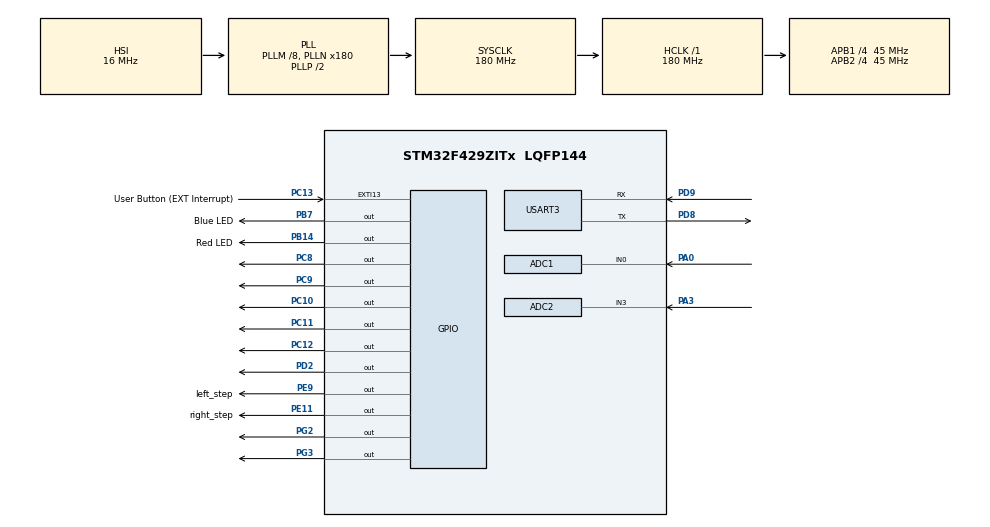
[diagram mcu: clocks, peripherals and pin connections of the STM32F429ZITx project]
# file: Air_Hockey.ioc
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ADC1.Channel-0\#ChannelRegularConversion=ADC_CHANNEL_0
ADC1.ClockPrescaler=ADC_CLOCK_SYNC_PCLK_DIV2
ADC1.ContinuousConvMode=DISABLE
ADC1.DMAContinuousRequests=DISABLE
ADC1.DataAlign=ADC_DATAALIGN_RIGHT
ADC1.DiscontinuousConvMode=DISABLE
ADC1.EOCSelection=ADC_EOC_SINGLE_CONV
ADC1.EnableAnalogWatchDog=false
ADC1.ExternalTrigConv=ADC_SOFTWARE_START
ADC1.ExternalTrigConvEdge=ADC_EXTERNALTRIGCONVEDGE_NONE
ADC1.InjNumberOfConversion=0
ADC1.NbrOfConversion=1
ADC1.NbrOfConversionFlag=1
ADC1.Rank-0\#ChannelRegularConversion=1
ADC1.Resolution=ADC_RESOLUTION_12B
ADC1.SamplingTime-0\#ChannelRegularConversion=ADC_SAMPLETIME_3CYCLES
ADC1.ScanConvMode=DISABLE
ADC1.master=1
ADC2.Channel-12\#ChannelRegularConversion=ADC_CHANNEL_3
ADC2.NbrOfConversionFlag=1
ADC2.Rank-12\#ChannelRegularConversion=1
ADC2.SamplingTime-12\#ChannelRegularConversion=ADC_SAMPLETIME_3CYCLES
Mcu.Family=STM32F4
Mcu.Name=STM32F429ZITx
Mcu.Package=LQFP144
NVIC.EXTI15_10_IRQn=true\:0\:0\:false\:false\:true\:true
NVIC.PriorityGroup=NVIC_PRIORITYGROUP_4
NVIC.TIM1_UP_TIM10_IRQn=true\:0\:0\:false\:false\:true\:true
NVIC.TIM7_IRQn=true\:0\:0\:false\:false\:true\:false
NVIC.TimeBase=TIM7_IRQn
NVIC.TimeBaseIP=TIM7
NVIC.USART3_IRQn=true\:0\:0\:false\:false\:true\:true
PA0/WKUP.Signal=ADCx_IN0
PA3.Signal=ADCx_IN3
PB14.GPIO_Label=Red LED
PB14.Signal=GPIO_Output
PB7.GPIO_Label=Blue LED
PB7.Signal=GPIO_Output
PC10.Signal=GPIO_Output
PC11.Signal=GPIO_Output
PC12.Signal=GPIO_Output
PC13.GPIO_Label=User Button (EXT Interrupt)
PC13.Signal=GPXTI13
PC14/OSC32_IN.Mode=LSE-External-Oscillator
PC14/OSC32_IN.Signal=RCC_OSC32_IN
PC15/OSC32_OUT.Mode=LSE-External-Oscillator
PC15/OSC32_OUT.Signal=RCC_OSC32_OUT
PC8.Signal=GPIO_Output
PC9.Signal=GPIO_Output
PD2.Signal=GPIO_Output
PD8.Mode=Asynchronous
PD8.Signal=USART3_TX
PD9.Mode=Asynchronous
PD9.Signal=USART3_RX
PE11.GPIO_Label=right_step
PE11.Signal=GPIO_Output
PE9.GPIO_Label=left_step
PE9.Signal=GPIO_Output
PG2.Signal=GPIO_Output
PG3.Signal=GPIO_Output
PH0/OSC_IN.Mode=HSE-External-Oscillator
PH0/OSC_IN.Signal=RCC_OSC_IN
PH1/OSC_OUT.Mode=HSE-External-Oscillator
PH1/OSC_OUT.Signal=RCC_OSC_OUT
ProjectManager.HeapSize=0x200
ProjectManager.StackSize=0x400
ProjectManager.TargetToolchain=SW4STM32
RCC.48MHZClocksFreq_Value=90000000
RCC.AHBFreq_Value=180000000
RCC.APB1CLKDivider=RCC_HCLK_DIV4
RCC.APB1Freq_Value=45000000
RCC.APB1TimFreq_Value=90000000
RCC.APB2CLKDivider=RCC_HCLK_DIV4
RCC.APB2Freq_Value=45000000
RCC.APB2TimFreq_Value=90000000
RCC.CortexFreq_Value=180000000
RCC.HCLKFreq_Value=180000000
RCC.HSE_VALUE=25000000
RCC.HSI_VALUE=16000000
RCC.PLLM=8
RCC.PLLN=180
RCC.SYSCLKFreq_VALUE=180000000
RCC.SYSCLKSource=RCC_SYSCLKSOURCE_PLLCLK
RCC.VCOOutputFreq_Value=360000000
SH.ADCx_IN0.0=ADC1_IN0,IN0
SH.ADCx_IN3.0=ADC2_IN3,IN3
TIM1.Period=90
TIM1.Prescaler=500
USART3.VirtualMode=VM_ASYNC
VP_SYS_VS_tim7.Mode=TIM7
VP_TIM1_VS_ClockSourceINT.Mode=Internal
VP_TIM3_VS_ClockSourceINT.Mode=Internal
board=custom

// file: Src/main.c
/**
  ******************************************************************************
  * @file           : main.c
  * @brief          : Main program body
  ******************************************************************************
  ** This notice applies to any and all portions of this file
  * that are not between comment pairs USER CODE BEGIN and
  * USER CODE END. Other portions of this file, whether
  * inserted by the user or by software development tools
  * are owned by their respective copyright owners.
  *
  * COPYRIGHT(c) 2018 STMicroelectronics
  *
  * Redistribution and use in source and binary forms, with or without modification,
  * are permitted provided that the following conditions are met:
  *   1. Redistributions of source code must retain the above copyright notice,
  *      this list of conditions and the following disclaimer.
  *   2. Redistributions in binary form must reproduce the above copyright notice,
  *      this list of conditions and the following disclaimer in the documentation
  *      and/or other materials provided with the distribution.
  *   3. Neither the name of STMicroelectronics nor the names of its contributors
  *      may be used to endorse or promote products derived from this software
  *      without specific prior written permission.
  *
  * THIS SOFTWARE IS PROVIDED BY THE COPYRIGHT HOLDERS AND CONTRIBUTORS "AS IS"
  * AND ANY EXPRESS OR IMPLIED WARRANTIES, INCLUDING, BUT NOT LIMITED TO, THE
  * IMPLIED WARRANTIES OF MERCHANTABILITY AND FITNESS FOR A PARTICULAR PURPOSE ARE
  * DISCLAIMED. IN NO EVENT SHALL THE COPYRIGHT HOLDER OR CONTRIBUTORS BE LIABLE
  * FOR ANY DIRECT, INDIRECT, INCIDENTAL, SPECIAL, EXEMPLARY, OR CONSEQUENTIAL
  * DAMAGES (INCLUDING, BUT NOT LIMITED TO, PROCUREMENT OF SUBSTITUTE GOODS OR
  * SERVICES; LOSS OF USE, DATA, OR PROFITS; OR BUSINESS INTERRUPTION) HOWEVER
  * CAUSED AND ON ANY THEORY OF LIABILITY, WHETHER IN CONTRACT, STRICT LIABILITY,
  * OR TORT (INCLUDING NEGLIGENCE OR OTHERWISE) ARISING IN ANY WAY OUT OF THE USE
  * OF THIS SOFTWARE, EVEN IF ADVISED OF THE POSSIBILITY OF SUCH DAMAGE.
  *
  ******************************************************************************
  */
#include "main.h"
#include "stm32f4xx_hal.h"
#include "lwj.h"

ADC_HandleTypeDef hadc1;
ADC_HandleTypeDef hadc2;

TIM_HandleTypeDef htim1;
TIM_HandleTypeDef htim3;

UART_HandleTypeDef huart3;

/* USER CODE BEGIN PV */
/* Private variables ---------------------------------------------------------*/

/* USER CODE END PV */

void SystemClock_Config(void);
static void MX_GPIO_Init(void);
static void MX_TIM1_Init(void);
static void MX_USART3_UART_Init(void);
static void MX_TIM3_Init(void);
static void MX_ADC1_Init(void);
static void MX_ADC2_Init(void);

/* USER CODE BEGIN PFP */
/* Private function prototypes -----------------------------------------------*/

/* USER CODE END PFP */

/* USER CODE BEGIN 0 */
extern uint16_t pulse_count1;
extern uint16_t pulse_count2;
extern uint8_t step_flag;

void HAL_TIM_PeriodElapsedCallback(TIM_HandleTypeDef *htim)
{
  UNUSED(htim);

  if(htim->Instance==TIM1){
    if(pulse_count1 != 0){
      pulse_count1--;
      HAL_GPIO_TogglePin(GPIOE, GPIO_PIN_9);
    }
    if(pulse_count2 != 0){
      pulse_count2--;
      HAL_GPIO_TogglePin(GPIOE, GPIO_PIN_11);
    }
    if((pulse_count1 == 0) && (pulse_count2 == 0)){
      HAL_TIM_Base_Stop_IT(htim);
      step_flag = 1;
    }
  }

}
/* USER CODE END 0 */

int main(void)
{

  /* MCU Configuration----------------------------------------------------------*/

  /* Reset of all peripherals, Initializes the Flash interface and the Systick. */
  HAL_Init();

  /* Configure the system clock */
  SystemClock_Config();

  /* Initialize all configured peripherals */
  MX_GPIO_Init();
  MX_TIM1_Init();
  MX_USART3_UART_Init();
  MX_TIM3_Init();
  MX_ADC1_Init();
  MX_ADC2_Init();

  /* Infinite loop */
  /* USER CODE BEGIN WHILE */
  int dir =0;
  while (1)
  {
    if(step_flag == 1){
      Step_pulse(200,MOTOR_RIGHT,dir);
      if(!Step_pulse(200,MOTOR_LEFT,!dir)){
        pulse_start();
        dir = !dir;
      }
    }
  /* USER CODE END WHILE */

  }

}

void SystemClock_Config(void)
{

  RCC_OscInitTypeDef RCC_OscInitStruct;
  RCC_ClkInitTypeDef RCC_ClkInitStruct;

    /**Configure the main internal regulator output voltage
    */
  __HAL_RCC_PWR_CLK_ENABLE();

  __HAL_PWR_VOLTAGESCALING_CONFIG(PWR_REGULATOR_VOLTAGE_SCALE1);

    /**Initializes the CPU, AHB and APB busses clocks
    */
  RCC_OscInitStruct.OscillatorType = RCC_OSCILLATORTYPE_HSI;
  RCC_OscInitStruct.HSIState = RCC_HSI_ON;
  RCC_OscInitStruct.HSICalibrationValue = 16;
  RCC_OscInitStruct.PLL.PLLState = RCC_PLL_ON;
  RCC_OscInitStruct.PLL.PLLSource = RCC_PLLSOURCE_HSI;
  RCC_OscInitStruct.PLL.PLLM = 8;
  RCC_OscInitStruct.PLL.PLLN = 180;
  RCC_OscInitStruct.PLL.PLLP = RCC_PLLP_DIV2;
  RCC_OscInitStruct.PLL.PLLQ = 4;
  if (HAL_RCC_OscConfig(&RCC_OscInitStruct) != HAL_OK)
  {
    _Error_Handler(__FILE__, __LINE__);
  }

    /**Activate the Over-Drive mode
    */
  if (HAL_PWREx_EnableOverDrive() != HAL_OK)
  {
    _Error_Handler(__FILE__, __LINE__);
  }

    /**Initializes the CPU, AHB and APB busses clocks
    */
  RCC_ClkInitStruct.ClockType = RCC_CLOCKTYPE_HCLK|RCC_CLOCKTYPE_SYSCLK
                              |RCC_CLOCKTYPE_PCLK1|RCC_CLOCKTYPE_PCLK2;
  RCC_ClkInitStruct.SYSCLKSource = RCC_SYSCLKSOURCE_PLLCLK;
  RCC_ClkInitStruct.AHBCLKDivider = RCC_SYSCLK_DIV1;
  RCC_ClkInitStruct.APB1CLKDivider = RCC_HCLK_DIV4;
  RCC_ClkInitStruct.APB2CLKDivider = RCC_HCLK_DIV4;

  if (HAL_RCC_ClockConfig(&RCC_ClkInitStruct, FLASH_LATENCY_5) != HAL_OK)
  {
    _Error_Handler(__FILE__, __LINE__);
  }

    /**Configure the Systick interrupt time
    */
  HAL_SYSTICK_Config(HAL_RCC_GetHCLKFreq()/1000);

    /**Configure the Systick
    */
  HAL_SYSTICK_CLKSourceConfig(SYSTICK_CLKSOURCE_HCLK);

  /* SysTick_IRQn interrupt configuration */
  HAL_NVIC_SetPriority(SysTick_IRQn, 0, 0);
}

/* ADC1 init function */
static void MX_ADC1_Init(void)
{

  ADC_ChannelConfTypeDef sConfig;

    /**Configure the global features of the ADC (Clock, Resolution, Data Alignment and number of conversion)
    */
  hadc1.Instance = ADC1;
  hadc1.Init.ClockPrescaler = ADC_CLOCK_SYNC_PCLK_DIV2;
  hadc1.Init.Resolution = ADC_RESOLUTION_12B;
  hadc1.Init.ScanConvMode = DISABLE;
  hadc1.Init.ContinuousConvMode = DISABLE;
  hadc1.Init.DiscontinuousConvMode = DISABLE;
  hadc1.Init.ExternalTrigConvEdge = ADC_EXTERNALTRIGCONVEDGE_NONE;
  hadc1.Init.ExternalTrigConv = ADC_SOFTWARE_START;
  hadc1.Init.DataAlign = ADC_DATAALIGN_RIGHT;
  hadc1.Init.NbrOfConversion = 1;
  hadc1.Init.DMAContinuousRequests = DISABLE;
  hadc1.Init.EOCSelection = ADC_EOC_SINGLE_CONV;
  if (HAL_ADC_Init(&hadc1) != HAL_OK)
  {
    _Error_Handler(__FILE__, __LINE__);
  }

    /**Configure for the selected ADC regular channel its corresponding rank in the sequencer and its sample time.
    */
  sConfig.Channel = ADC_CHANNEL_0;
  sConfig.Rank = 1;
  sConfig.SamplingTime = ADC_SAMPLETIME_3CYCLES;
  if (HAL_ADC_ConfigChannel(&hadc1, &sConfig) != HAL_OK)
  {
    _Error_Handler(__FILE__, __LINE__);
  }

}

/* ADC2 init function */
static void MX_ADC2_Init(void)
{

  ADC_ChannelConfTypeDef sConfig;

    /**Configure the global features of the ADC (Clock, Resolution, Data Alignment and number of conversion)
    */
  hadc2.Instance = ADC2;
  hadc2.Init.ClockPrescaler = ADC_CLOCK_SYNC_PCLK_DIV2;
  hadc2.Init.Resolution = ADC_RESOLUTION_12B;
  hadc2.Init.ScanConvMode = DISABLE;
  hadc2.Init.ContinuousConvMode = DISABLE;
  hadc2.Init.DiscontinuousConvMode = DISABLE;
  hadc2.Init.ExternalTrigConvEdge = ADC_EXTERNALTRIGCONVEDGE_NONE;
  hadc2.Init.ExternalTrigConv = ADC_SOFTWARE_START;
  hadc2.Init.DataAlign = ADC_DATAALIGN_RIGHT;
  hadc2.Init.NbrOfConversion = 1;
  hadc2.Init.DMAContinuousRequests = DISABLE;
  hadc2.Init.EOCSelection = ADC_EOC_SINGLE_CONV;
  if (HAL_ADC_Init(&hadc2) != HAL_OK)
  {
    _Error_Handler(__FILE__, __LINE__);
  }

    /**Configure for the selected ADC regular channel its corresponding rank in the sequencer and its sample time.
    */
  sConfig.Channel = ADC_CHANNEL_3;
  sConfig.Rank = 1;
  sConfig.SamplingTime = ADC_SAMPLETIME_3CYCLES;
  if (HAL_ADC_ConfigChannel(&hadc2, &sConfig) != HAL_OK)
  {
    _Error_Handler(__FILE__, __LINE__);
  }

}

/* TIM1 init function */
static void MX_TIM1_Init(void)
{

  TIM_ClockConfigTypeDef sClockSourceConfig;
  TIM_MasterConfigTypeDef sMasterConfig;

  htim1.Instance = TIM1;
  htim1.Init.Prescaler = 500;
  htim1.Init.CounterMode = TIM_COUNTERMODE_UP;
  htim1.Init.Period = 90;
  htim1.Init.ClockDivision = TIM_CLOCKDIVISION_DIV1;
  htim1.Init.RepetitionCounter = 0;
  if (HAL_TIM_Base_Init(&htim1) != HAL_OK)
  {
    _Error_Handler(__FILE__, __LINE__);
  }

  sClockSourceConfig.ClockSource = TIM_CLOCKSOURCE_INTERNAL;
  if (HAL_TIM_ConfigClockSource(&htim1, &sClockSourceConfig) != HAL_OK)
  {
    _Error_Handler(__FILE__, __LINE__);
  }

  sMasterConfig.MasterOutputTrigger = TIM_TRGO_RESET;
  sMasterConfig.MasterSlaveMode = TIM_MASTERSLAVEMODE_DISABLE;
  if (HAL_TIMEx_MasterConfigSynchronization(&htim1, &sMasterConfig) != HAL_OK)
  {
    _Error_Handler(__FILE__, __LINE__);
  }

}

/* TIM3 init function */
static void MX_TIM3_Init(void)
{

  TIM_ClockConfigTypeDef sClockSourceConfig;
  TIM_MasterConfigTypeDef sMasterConfig;

  htim3.Instance = TIM3;
  htim3.Init.Prescaler = 0;
  htim3.Init.CounterMode = TIM_COUNTERMODE_UP;
  htim3.Init.Period = 0;
  htim3.Init.ClockDivision = TIM_CLOCKDIVISION_DIV1;
  if (HAL_TIM_Base_Init(&htim3) != HAL_OK)
  {
    _Error_Handler(__FILE__, __LINE__);
  }

  sClockSourceConfig.ClockSource = TIM_CLOCKSOURCE_INTERNAL;
  if (HAL_TIM_ConfigClockSource(&htim3, &sClockSourceConfig) != HAL_OK)
  {
    _Error_Handler(__FILE__, __LINE__);
  }

  sMasterConfig.MasterOutputTrigger = TIM_TRGO_RESET;
  sMasterConfig.MasterSlaveMode = TIM_MASTERSLAVEMODE_DISABLE;
  if (HAL_TIMEx_MasterConfigSynchronization(&htim3, &sMasterConfig) != HAL_OK)
  {
    _Error_Handler(__FILE__, __LINE__);
  }

}

/* USART3 init function */
static void MX_USART3_UART_Init(void)
{

  huart3.Instance = USART3;
  huart3.Init.BaudRate = 115200;
  huart3.Init.WordLength = UART_WORDLENGTH_8B;
  huart3.Init.StopBits = UART_STOPBITS_1;
  huart3.Init.Parity = UART_PARITY_NONE;
  huart3.Init.Mode = UART_MODE_TX_RX;
  huart3.Init.HwFlowCtl = UART_HWCONTROL_NONE;
  huart3.Init.OverSampling = UART_OVERSAMPLING_16;
  if (HAL_UART_Init(&huart3) != HAL_OK)
  {
    _Error_Handler(__FILE__, __LINE__);
  }

}

/** Configure pins as
        * Analog
        * Input
        * Output
        * EVENT_OUT
        * EXTI
*/
static void MX_GPIO_Init(void)
{

  GPIO_InitTypeDef GPIO_InitStruct;

  /* GPIO Ports Clock Enable */
  __HAL_RCC_GPIOC_CLK_ENABLE();
  __HAL_RCC_GPIOH_CLK_ENABLE();
  __HAL_RCC_GPIOA_CLK_ENABLE();
  __HAL_RCC_GPIOE_CLK_ENABLE();
  __HAL_RCC_GPIOB_CLK_ENABLE();
  __HAL_RCC_GPIOD_CLK_ENABLE();
  __HAL_RCC_GPIOG_CLK_ENABLE();

  /*Configure GPIO pin Output Level */
  HAL_GPIO_WritePin(GPIOE, left_step_Pin|right_step_Pin, GPIO_PIN_RESET);

  /*Configure GPIO pin Output Level */
  HAL_GPIO_WritePin(GPIOB, Red_LED_Pin|Blue_LED_Pin, GPIO_PIN_RESET);

  /*Configure GPIO pin Output Level */
  HAL_GPIO_WritePin(GPIOG, GPIO_PIN_2|GPIO_PIN_3, GPIO_PIN_RESET);

  /*Configure GPIO pin Output Level */
  HAL_GPIO_WritePin(GPIOC, GPIO_PIN_8|GPIO_PIN_9|GPIO_PIN_10|GPIO_PIN_11
                          |GPIO_PIN_12, GPIO_PIN_RESET);

  /*Configure GPIO pin Output Level */
  HAL_GPIO_WritePin(GPIOD, GPIO_PIN_2, GPIO_PIN_RESET);

  /*Configure GPIO pin : User_Button_Pin */
  GPIO_InitStruct.Pin = User_Button_Pin;
  GPIO_InitStruct.Mode = GPIO_MODE_IT_RISING;
  GPIO_InitStruct.Pull = GPIO_NOPULL;
  HAL_GPIO_Init(User_Button_GPIO_Port, &GPIO_InitStruct);

  /*Configure GPIO pins : left_step_Pin right_step_Pin */
  GPIO_InitStruct.Pin = left_step_Pin|right_step_Pin;
  GPIO_InitStruct.Mode = GPIO_MODE_OUTPUT_PP;
  GPIO_InitStruct.Pull = GPIO_NOPULL;
  GPIO_InitStruct.Speed = GPIO_SPEED_FREQ_LOW;
  HAL_GPIO_Init(GPIOE, &GPIO_InitStruct);

  /*Configure GPIO pins : Red_LED_Pin Blue_LED_Pin */
  GPIO_InitStruct.Pin = Red_LED_Pin|Blue_LED_Pin;
  GPIO_InitStruct.Mode = GPIO_MODE_OUTPUT_PP;
  GPIO_InitStruct.Pull = GPIO_NOPULL;
  GPIO_InitStruct.Speed = GPIO_SPEED_FREQ_LOW;
  HAL_GPIO_Init(GPIOB, &GPIO_InitStruct);

  /*Configure GPIO pins : PG2 PG3 */
  GPIO_InitStruct.Pin = GPIO_PIN_2|GPIO_PIN_3;
  GPIO_InitStruct.Mode = GPIO_MODE_OUTPUT_PP;
  GPIO_InitStruct.Pull = GPIO_NOPULL;
  GPIO_InitStruct.Speed = GPIO_SPEED_FREQ_LOW;
  HAL_GPIO_Init(GPIOG, &GPIO_InitStruct);

  /*Configure GPIO pins : PC8 PC9 PC10 PC11
                           PC12 */
  GPIO_InitStruct.Pin = GPIO_PIN_8|GPIO_PIN_9|GPIO_PIN_10|GPIO_PIN_11
                          |GPIO_PIN_12;
  GPIO_InitStruct.Mode = GPIO_MODE_OUTPUT_PP;
  GPIO_InitStruct.Pull = GPIO_NOPULL;
  GPIO_InitStruct.Speed = GPIO_SPEED_FREQ_LOW;
  HAL_GPIO_Init(GPIOC, &GPIO_InitStruct);

  /*Configure GPIO pin : PD2 */
  GPIO_InitStruct.Pin = GPIO_PIN_2;
  GPIO_InitStruct.Mode = GPIO_MODE_OUTPUT_PP;
  GPIO_InitStruct.Pull = GPIO_NOPULL;
  GPIO_InitStruct.Speed = GPIO_SPEED_FREQ_LOW;
  HAL_GPIO_Init(GPIOD, &GPIO_InitStruct);

  /* EXTI interrupt init*/
  HAL_NVIC_SetPriority(EXTI15_10_IRQn, 0, 0);
  HAL_NVIC_EnableIRQ(EXTI15_10_IRQn);

}

void _Error_Handler(char *file, int line)
{
  while(1)
  {
  }
}

/************************ (C) COPYRIGHT STMicroelectronics *****END OF FILE****/
